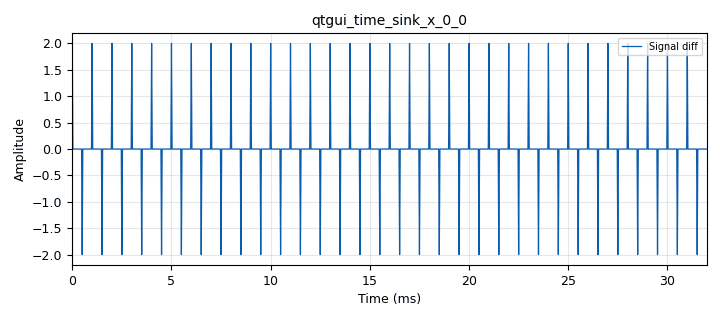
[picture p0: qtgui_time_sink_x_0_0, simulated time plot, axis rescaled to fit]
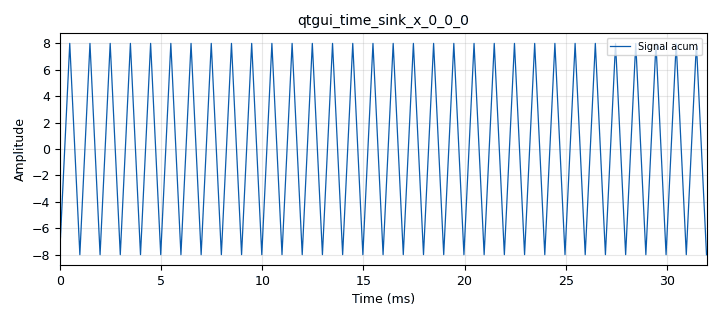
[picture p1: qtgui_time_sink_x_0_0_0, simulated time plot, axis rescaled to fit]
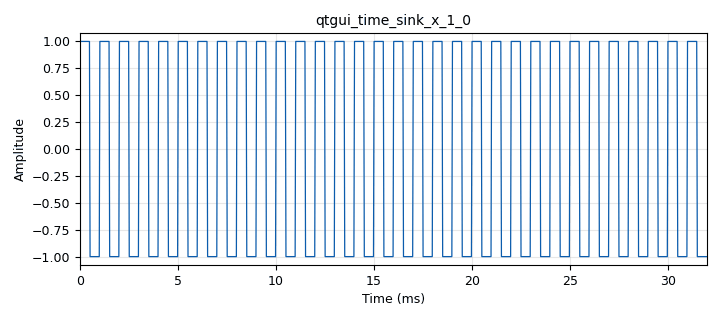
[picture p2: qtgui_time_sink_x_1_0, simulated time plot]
options:
  parameters:
    generate_options: qt_gui
    id: Practica_1
    output_language: python
    title: Not titled yet
  states: {}

blocks:
- name: samp_rate
  id: variable
  parameters:
    value: '32000'
  states: {}
- name: analog_sig_source_x_0
  id: analog_sig_source_x
  parameters:
    amp: '1'
    freq: '1000'
    offset: '-0.5'
    phase: '0'
    samp_rate: samp_rate
    type: float
    waveform: analog.GR_SQR_WAVE
  states: {state: disabled}
- name: blocks_throttle2_0
  id: blocks_throttle2
  parameters:
    samples_per_second: samp_rate
    type: float
  states: {}
- name: blocks_throttle2_1
  id: blocks_throttle2
  parameters:
    samples_per_second: samp_rate
    type: float
  states: {}
- name: blocks_vector_source_x_0_0
  id: blocks_vector_source_x
  parameters:
    repeat: 'True'
    type: float
    vector: (1,1,1,1,1,1,1,1,1,1,1,1,1,1,1,1,-1,-1,-1,-1,-1,-1,-1,-1,-1,-1,-1,-1,-1,-1,-1,-1)
  states: {}
- name: epy_block_0
  id: epy_block
  parameters:
    _source_code: |
      """
      Embedded Python Blocks:

      Each time this file is saved, GRC will instantiate the first class it finds
      to get ports and parameters of your block. The arguments to __init__  will
      be the parameters. All of them are required to have default values!
      """

      import numpy as np
      from gnuradio import gr


      class blk(gr.sync_block):  # other base classes are basic_block, decim_block, interp_block
          """Embedded Python Block example - a simple multiply const"""

          def __init__ ( self ) : # only default arguments here
              gr. sync_block . __init__ (
                  self ,
                  name ='e_Acum' , # will show up in GRC
                  in_sig =[ np. float32 ],
                  out_sig =[ np. float32 ]
              )

          def work (self , input_items , output_items ):
              x = input_items [0] # Senial de entrada .
              y0 = output_items [0] # Senial acumulada
              y0 [:] = np. cumsum (x)
              return len (y0)
  states: {}
- name: epy_block_1_0
  id: epy_block
  parameters:
    _source_code: |
      import numpy as np
      from gnuradio import gr

      class blk(gr.sync_block):
          def __init__(self):
              gr.sync_block.__init__(
                  self,
                  name='e_Diff',  # Nombre en GRC
                  in_sig=[np.float32],
                  out_sig=[np.float32]
              )
              self.ultimo_muestra = 0.0  # Guardamos la última muestra del bloque anterior

          def work(self, input_items, output_items):
              x = input_items[0]
              y = output_items[0]
              N = len(x)

              # Calculamos la diferencia entre muestras consecutivas
              # Para la primera muestra, usamos la última del bloque anterior
              y[0] = x[0] - self.ultimo_muestra

              # Para el resto, diferencia directa dentro del bloque
              if N > 1:
                  y[1:] = x[1:] - x[:-1]

              # Guardamos la última muestra para el próximo bloque
              self.ultimo_muestra = x[-1]

              return len(y)
  states: {}
- name: qtgui_time_sink_x_0_0
  id: qtgui_time_sink_x
  parameters:
    label1: Signal diff
    size: '1024'
    srate: samp_rate
    type: float
  states: {}
- name: qtgui_time_sink_x_0_0_0
  id: qtgui_time_sink_x
  parameters:
    label1: Signal acum
    size: '1024'
    srate: samp_rate
    type: float
  states: {}
- name: qtgui_time_sink_x_1_0
  id: qtgui_time_sink_x
  parameters:
    size: '1024'
    srate: samp_rate
    type: float
  states: {}

connections:
- [analog_sig_source_x_0, '0', epy_block_1_0, '0']
- [analog_sig_source_x_0, '0', qtgui_time_sink_x_1_0, '0']
- [blocks_throttle2_0, '0', qtgui_time_sink_x_0_0, '0']
- [blocks_throttle2_1, '0', qtgui_time_sink_x_0_0_0, '0']
- [blocks_vector_source_x_0_0, '0', epy_block_0, '0']
- [blocks_vector_source_x_0_0, '0', epy_block_1_0, '0']
- [blocks_vector_source_x_0_0, '0', qtgui_time_sink_x_1_0, '0']
- [epy_block_0, '0', blocks_throttle2_1, '0']
- [epy_block_1_0, '0', blocks_throttle2_0, '0']

metadata:
  file_format: 1
  grc_version: v3.10.11.0-89-ga17f69e7
